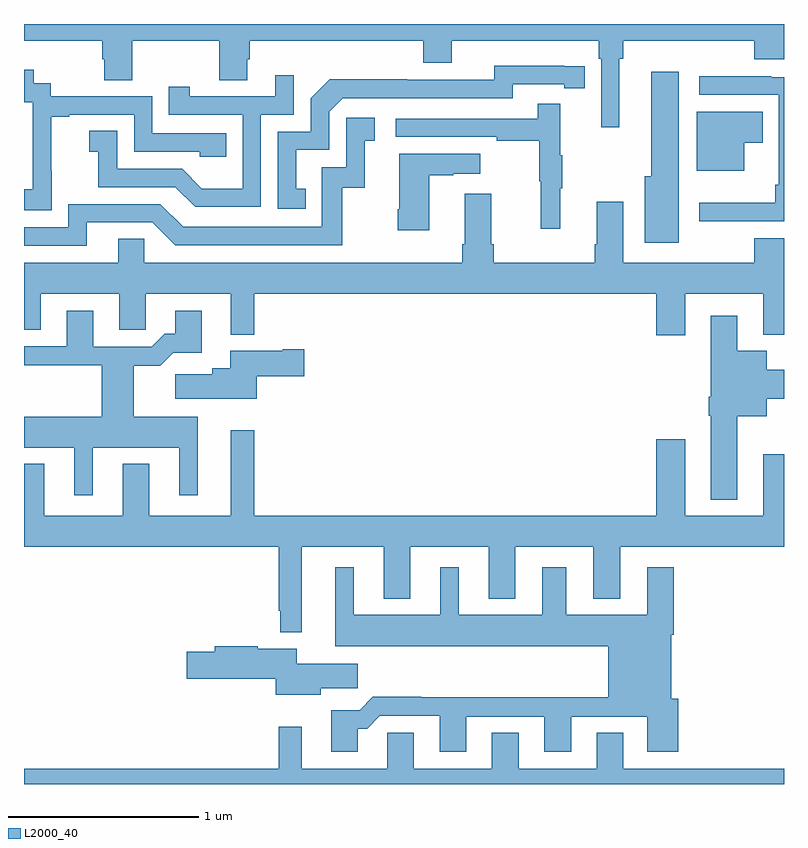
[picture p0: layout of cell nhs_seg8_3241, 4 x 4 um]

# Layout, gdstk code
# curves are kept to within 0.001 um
import gdstk
lib = gdstk.Library(unit=1e-6, precision=1e-09)
def P(c, l, *ps):  # polygons
    for p in ps: c.add(gdstk.Polygon(p, *l))
L2000_40 = (2000, 40)

nhs_seg8_3241 = lib.new_cell('nhs_seg8_3241')
P(nhs_seg8_3241, L2000_40, [(314.134,1137.716),(314.153,1137.716),(314.153,1137.812),(314.843,1137.812),(314.843,1137.714),(315,1137.714),(315,1137.9),(311,1137.9),(311,1137.812),(311.411,1137.812),(311.411,1137.714),(311.423,1137.714),(311.423,1137.604),(311.571,1137.604),(311.571,1137.812),(312.028,1137.812),(312.028,1137.604),(312.175,1137.604),(312.175,1137.714),(312.188,1137.714),(312.188,1137.812),(313.1,1137.812),(313.1,1137.695),(313.252,1137.695),(313.252,1137.812),(314.024,1137.812),(314.024,1137.716),(314.037,1137.716),(314.037,1137.357),(314.134,1137.357)],
  [(312.482,1137.033),(312.433,1137.033),(312.433,1137.237),(312.606,1137.237),(312.606,1137.438),(312.678,1137.51),(313.572,1137.51),(313.572,1137.582),(313.844,1137.582),(313.844,1137.562),(313.952,1137.562),(313.952,1137.678),(313.476,1137.679),(313.476,1137.606),(313.016,1137.606),(313.016,1137.608),(312.608,1137.608),(312.51,1137.51),(312.51,1137.333),(312.336,1137.333),(312.336,1136.928),(312.482,1136.928)],
  [(311.145,1137.127),(311.144,1137.127),(311.144,1137.411),(311.239,1137.411),(311.239,1137.423),(311.58,1137.423),(311.58,1137.228),(311.925,1137.228),(311.925,1137.201),(312.065,1137.201),(312.065,1137.324),(311.676,1137.324),(311.676,1137.519),(311.142,1137.519),(311.142,1137.588),(311.05,1137.588),(311.05,1137.658),(311,1137.658),(311,1137.489),(311.046,1137.489),(311.046,1137.26),(311.045,1137.26),(311.045,1137.031),(311,1137.031),(311,1136.921),(311.145,1136.921)],
  [(314.446,1137.649),(314.3,1137.649),(314.3,1137.1),(314.267,1137.1),(314.267,1136.748),(314.446,1136.748)],
  [(312.246,1137.423),(312.42,1137.423),(312.42,1137.631),(312.323,1137.631),(312.323,1137.519),(311.872,1137.519),(311.872,1137.571),(311.761,1137.571),(311.761,1137.423),(312.15,1137.423),(312.15,1137.034),(311.936,1137.034),(311.832,1137.138),(311.49,1137.138),(311.49,1137.337),(311.343,1137.337),(311.343,1137.227),(311.392,1137.227),(311.392,1137.042),(311.795,1137.042),(311.9,1136.937),(312.246,1136.937)],
  [(315,1137.621),(314.933,1137.621),(314.933,1137.626),(314.553,1137.626),(314.553,1137.528),(314.973,1137.528),(314.973,1137.185),(314.972,1137.185),(314.972,1137.055),(314.953,1137.055),(314.953,1136.959),(314.553,1136.959),(314.553,1136.862),(315,1136.862)],
  [(313.823,1137.035),(313.834,1137.035),(313.834,1137.209),(313.823,1137.209),(313.823,1137.481),(313.705,1137.481),(313.705,1137.402),(312.957,1137.402),(312.957,1137.306),(313.489,1137.306),(313.489,1137.286),(313.713,1137.286),(313.713,1137.072),(313.72,1137.072),(313.72,1136.823),(313.823,1136.823)],
  [(314.791,1137.274),(314.888,1137.274),(314.888,1137.439),(314.54,1137.439),(314.54,1137.128),(314.791,1137.128)],
  [(311.329,1136.856),(311.676,1136.856),(311.796,1136.736),(312.676,1136.736),(312.676,1137.039),(312.794,1137.039),(312.794,1137.285),(312.847,1137.285),(312.847,1137.406),(312.696,1137.406),(312.696,1137.147),(312.567,1137.147),(312.567,1136.832),(311.838,1136.832),(311.718,1136.952),(311.232,1136.952),(311.232,1136.829),(311,1136.829),(311,1136.733),(311.329,1136.733)],
  [(313.132,1137.103),(313.259,1137.103),(313.259,1137.113),(313.402,1137.113),(313.402,1137.217),(312.974,1137.217),(312.974,1136.926),(312.967,1136.926),(312.967,1136.814),(313.132,1136.814)],
  [(314.479,1136.48),(314.891,1136.48),(314.891,1136.264),(315,1136.264),(315,1136.773),(314.843,1136.773),(314.843,1136.644),(314.155,1136.644),(314.155,1136.965),(314.015,1136.965),(314.015,1136.74),(314.003,1136.74),(314.003,1136.644),(313.472,1136.644),(313.472,1136.74),(313.459,1136.74),(313.459,1137.007),(313.319,1137.007),(313.319,1136.74),(313.307,1136.74),(313.307,1136.644),(311.634,1136.644),(311.634,1136.771),(311.495,1136.771),(311.495,1136.644),(311,1136.644),(311,1136.29),(311.089,1136.29),(311.089,1136.48),(311.501,1136.48),(311.501,1136.29),(311.64,1136.29),(311.64,1136.48),(312.089,1136.48),(312.089,1136.264),(312.211,1136.264),(312.211,1136.48),(314.327,1136.48),(314.327,1136.262),(314.479,1136.262)],
  [(311.362,1135.67),(311.816,1135.67),(311.816,1135.419),(311.914,1135.419),(311.914,1135.834),(311.578,1135.834),(311.578,1136.102),(311.717,1136.102),(311.786,1136.171),(311.935,1136.171),(311.935,1136.392),(311.795,1136.392),(311.795,1136.269),(311.74,1136.269),(311.673,1136.202),(311.365,1136.202),(311.365,1136.392),(311.225,1136.392),(311.225,1136.205),(311,1136.205),(311,1136.104),(311.408,1136.104),(311.408,1135.834),(311,1135.834),(311,1135.67),(311.264,1135.67),(311.264,1135.419),(311.362,1135.419)],
  [(314.755,1135.835),(314.908,1135.835),(314.908,1135.928),(315,1135.928),(315,1136.08),(314.908,1136.08),(314.908,1136.179),(314.755,1136.179),(314.755,1136.365),(314.615,1136.365),(314.615,1135.939),(314.603,1135.939),(314.603,1135.839),(314.615,1135.839),(314.615,1135.397),(314.755,1135.397)],
  [(312.226,1136.045),(312.475,1136.045),(312.475,1136.187),(312.362,1136.187),(312.362,1136.179),(312.086,1136.179),(312.086,1136.089),(311.99,1136.089),(311.99,1136.057),(311.796,1136.057),(311.796,1135.928),(312.226,1135.928)],
  [(312.463,1135.148),(312.893,1135.148),(312.893,1134.875),(313.033,1134.875),(313.033,1135.148),(313.445,1135.148),(313.445,1134.875),(313.585,1134.875),(313.585,1135.148),(313.997,1135.148),(313.997,1134.875),(314.137,1134.875),(314.137,1135.148),(315,1135.148),(315,1135.636),(314.891,1135.636),(314.891,1135.312),(314.479,1135.312),(314.479,1135.714),(314.327,1135.714),(314.327,1135.312),(312.211,1135.312),(312.211,1135.762),(312.089,1135.762),(312.089,1135.312),(311.659,1135.312),(311.659,1135.585),(311.519,1135.585),(311.519,1135.312),(311.107,1135.312),(311.107,1135.585),(311,1135.585),(311,1135.148),(312.342,1135.148),(312.342,1134.811),(312.349,1134.811),(312.349,1134.699),(312.463,1134.699)],
  [(312.757,1134.191),(312.806,1134.191),(312.873,1134.258),(313.187,1134.258),(313.187,1134.069),(313.327,1134.069),(313.327,1134.255),(313.739,1134.255),(313.739,1134.069),(313.879,1134.069),(313.879,1134.255),(314.279,1134.255),(314.279,1134.069),(314.444,1134.069),(314.444,1134.348),(314.407,1134.348),(314.407,1134.686),(314.42,1134.686),(314.42,1135.042),(314.279,1135.042),(314.279,1134.79),(313.855,1134.79),(313.855,1135.042),(313.727,1135.042),(313.727,1134.79),(313.288,1134.79),(313.288,1135.042),(313.19,1135.042),(313.19,1134.79),(312.736,1134.79),(312.736,1135.042),(312.638,1135.042),(312.638,1134.626),(314.075,1134.626),(314.075,1134.356),(313.091,1134.356),(313.091,1134.359),(312.836,1134.359),(312.766,1134.289),(312.617,1134.289),(312.617,1134.069),(312.757,1134.069)],
  [(312.562,1134.403),(312.757,1134.403),(312.757,1134.532),(312.436,1134.532),(312.436,1134.613),(312.23,1134.613),(312.23,1134.626),(312.005,1134.626),(312.005,1134.596),(311.856,1134.596),(311.856,1134.454),(312.326,1134.454),(312.326,1134.371),(312.562,1134.371)],
  [(315,1133.98),(314.155,1133.98),(314.155,1134.17),(314.015,1134.17),(314.015,1133.98),(313.603,1133.98),(313.603,1134.17),(313.463,1134.17),(313.463,1133.98),(313.051,1133.98),(313.051,1134.17),(312.912,1134.17),(312.912,1133.98),(312.463,1133.98),(312.463,1134.202),(312.342,1134.202),(312.342,1133.98),(311,1133.98),(311,1133.9),(315,1133.9)])

lib.write_gds('nhs_seg8_3241.gds')
